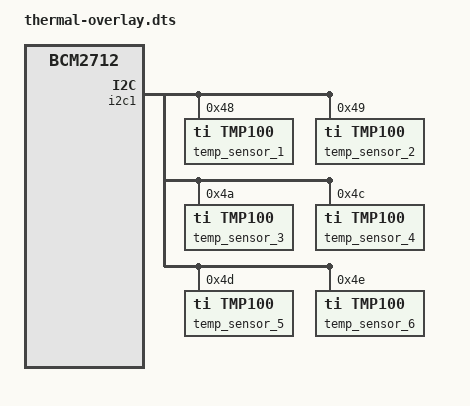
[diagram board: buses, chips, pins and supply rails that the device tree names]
/*
 * TMP100 Temperature Sensor Overlay for CM5 MI450 Linnie
 *
 * Configures 6x TMP100 temperature sensors on I2C1:
 *
 *  0x48: sensors 1: Temp BUCK CM5
 *  0x49: sensors 2: Temp I-BUCK CM5
 *  0x4A: sensors 3: Temp Buck ESP32
 *  0x4C: sensors 4: Temp BOARD
 *  0x4D: sensors 5: Temp LDO
 *  0x4E: sensors 6: Temp PWR INPUT
 *
 * TMP100 is compatible with the lm75 driver in Linux.
 * found at: https://github.com/torvalds/linux/blob/master/drivers/hwmon/lm75.c
 * these will appear at: /sys/class/hwmon/hwmonX/temp1_input
 */

/dts-v1/;
/plugin/;

/ {
    compatible = "brcm,bcm2712";

    fragment@0 {
        target = <&i2c1>;
        __overlay__ {
            status = "okay";
            #address-cells = <1>;
            #size-cells = <0>;

            /* TMP100 Sensor 1 */
            temp_sensor_1: tmp100@48 {
                compatible = "ti,tmp100";
                reg = <0x48>;
                status = "okay";
            };

            /* TMP100 Sensor 2 */
            temp_sensor_2: tmp100@49 {
                compatible = "ti,tmp100";
                reg = <0x49>;
                status = "okay";
            };

            /* TMP100 Sensor 3 */
            temp_sensor_3: tmp100@4a {
                compatible = "ti,tmp100";
                reg = <0x4a>;
                status = "okay";
            };

            /* TMP100 Sensor 4 */
            temp_sensor_4: tmp100@4c {
                compatible = "ti,tmp100";
                reg = <0x4c>;
                status = "okay";
            };

            /* TMP100 Sensor 5 */
            temp_sensor_5: tmp100@4d {
                compatible = "ti,tmp100";
                reg = <0x4d>;
                status = "okay";
            };

            /* TMP100 Sensor 6 */
            temp_sensor_6: tmp100@4e {
                compatible = "ti,tmp100";
                reg = <0x4e>;
                status = "okay";
            };
        };
    };
};
